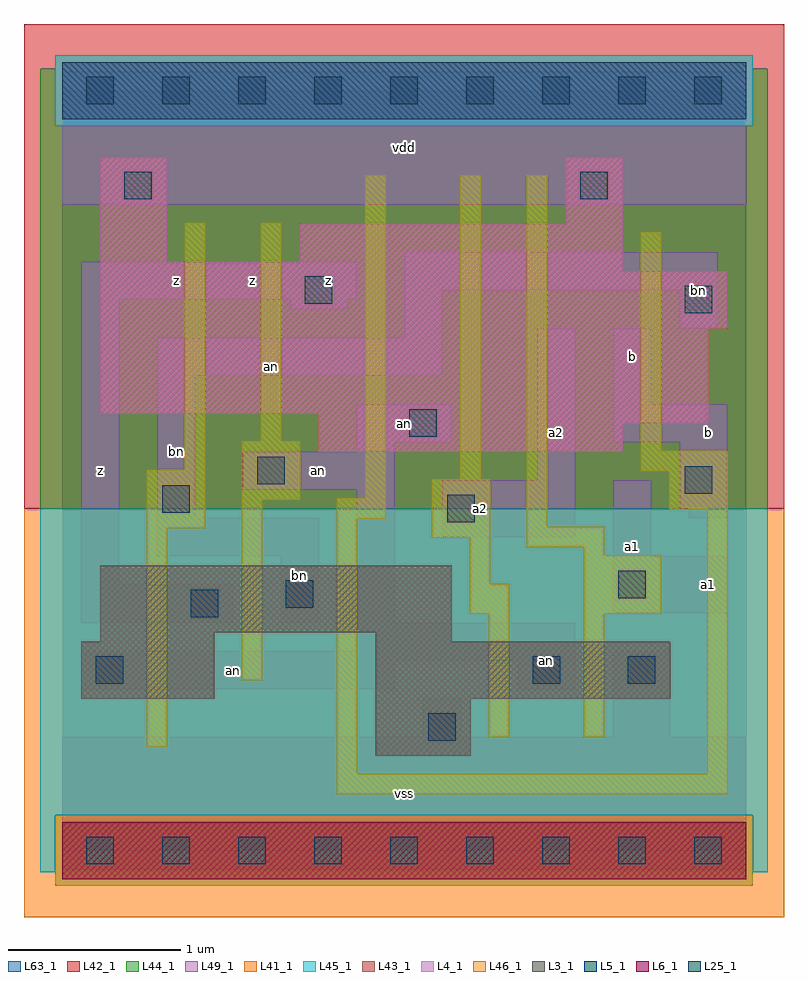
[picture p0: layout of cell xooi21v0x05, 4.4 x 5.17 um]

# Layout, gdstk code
import gdstk
lib = gdstk.Library(unit=1e-6, precision=1e-09)
def R(c, l, rs):  # rectangles x0, y0, x1, y1
    for r in rs: c.add(gdstk.rectangle(r[:2], r[2:], *l))
def A(c, l, x, y, w, h, nx, ny, dx, dy):  # array of equal rectangles
    R(c, l, [(x+i*dx, y+j*dy, x+i*dx+w, y+j*dy+h) for i in range(nx) for j in range(ny)])
L3_1 = (3, 1)
L4_1 = (4, 1)
L5_1 = (5, 1)
L6_1 = (6, 1)
L25_1 = (25, 1)
L41_1 = (41, 1)
L42_1 = (42, 1)
L43_1 = (43, 1)
L44_1 = (44, 1)
L45_1 = (45, 1)
L46_1 = (46, 1)
L49_1 = (49, 1)
L63_1 = (63, 1)

xooi21v0x05 = lib.new_cell('xooi21v0x05')
R(xooi21v0x05, L3_1, [(1.815,0.55,2.365,0.88), (0.11,0.88,0.88,1.21), (1.815,0.88,3.52,1.21), (0.22,1.21,0.88,1.265), (1.815,1.21,2.255,1.265), (0.22,1.265,2.255,1.65)])
R(xooi21v0x05, L4_1, [(1.485,2.31,3.245,2.475), (1.485,2.475,3.74,2.53), (0.22,2.53,3.74,3.025), (0.22,3.025,3.85,3.355), (0.22,3.355,3.245,3.41), (0.22,3.41,0.605,4.015), (1.375,3.41,3.245,3.63), (2.915,3.63,3.245,4.015)])
R(xooi21v0x05, L5_1, [(0,4.235,3.96,4.565)])
R(xooi21v0x05, L6_1, [(0,-0.165,3.96,0.165)])
A(xooi21v0x05, L25_1, 0.14, -0.08, 0.16, 0.16, 9, 2, 0.44, 4.4)
R(xooi21v0x05, L25_1, [(2.12,0.635,2.28,0.795), (0.195,0.965,0.355,1.125), (2.725,0.965,2.885,1.125), (3.275,0.965,3.435,1.125), (0.745,1.35,0.905,1.51), (1.295,1.405,1.455,1.565), (3.22,1.46,3.38,1.62), (2.23,1.9,2.39,2.06), (0.58,1.955,0.74,2.115), (3.605,2.065,3.765,2.225), (1.13,2.12,1.29,2.28), (2.01,2.395,2.17,2.555), (3.605,3.11,3.765,3.27), (1.405,3.165,1.565,3.325), (0.36,3.77,0.52,3.93), (3,3.77,3.16,3.93)])
R(xooi21v0x05, L41_1, [(-0.22,-0.385,4.18,1.98)])
R(xooi21v0x05, L42_1, [(-0.22,1.98,4.18,4.785)])
R(xooi21v0x05, L43_1, [(0,-0.165,3.96,0.165), (1.815,0.55,2.365,0.88), (0.11,0.88,0.88,1.21), (1.815,0.88,3.52,1.21), (0.22,1.21,0.88,1.265), (1.815,1.21,2.255,1.265), (0.22,1.265,2.255,1.65), (1.485,2.31,3.245,2.475), (1.485,2.475,3.74,2.53), (0.22,2.53,3.74,3.025), (0.22,3.025,3.85,3.355), (0.22,3.355,3.245,3.41), (0.22,3.41,0.605,4.015), (1.375,3.41,3.245,3.63), (2.915,3.63,3.245,4.015), (0,4.235,3.96,4.565)])
R(xooi21v0x05, L44_1, [(-0.04,-0.205,4,0.205), (-0.125,1.98,4.085,4.195), (-0.125,4.195,-0.04,4.525), (4,4.195,4.085,4.525)])
R(xooi21v0x05, L45_1, [(-0.125,-0.125,-0.04,0.205), (4,-0.125,4.085,0.205), (-0.125,0.205,4.085,1.98), (-0.04,4.195,4,4.605)])
R(xooi21v0x05, L46_1, [(1.59,0.325,3.855,0.445), (1.59,0.445,1.71,1.92), (3.735,0.445,3.855,1.975), (0.49,0.6,0.61,1.865), (2.47,0.655,2.59,1.37), (3.02,0.655,3.14,1.37), (1.04,0.985,1.16,2.03), (2.36,1.37,2.59,1.545), (3.02,1.37,3.47,1.71), (2.36,1.545,2.48,1.81), (3.02,1.71,3.14,1.755), (2.69,1.755,3.14,1.875), (2.14,1.81,2.48,2.15), (0.49,1.865,0.83,2.205), (2.69,1.875,2.81,3.91), (1.59,1.92,1.875,2.04), (3.515,1.975,3.855,2.195), (1.04,2.03,1.38,2.37), (1.755,2.04,1.875,3.91), (2.305,2.15,2.425,3.91), (3.35,2.195,3.855,2.315), (0.71,2.205,0.83,3.635), (3.35,2.315,3.47,3.58), (1.15,2.37,1.27,3.635)])
R(xooi21v0x05, L49_1, [(0,-0.11,3.96,0.66), (2.09,0.66,2.31,0.88), (3.19,0.66,3.52,1.155), (0.11,0.935,1.925,1.1), (2.64,0.935,2.97,1.1), (0.11,1.1,2.97,1.155), (1.705,1.155,2.97,1.32), (0.11,1.32,0.99,1.54), (1.265,1.32,1.485,1.705), (1.705,1.32,1.925,2.09), (3.19,1.375,3.85,1.705), (0.11,1.54,0.33,3.19), (0.55,1.705,1.485,1.925), (3.19,1.705,3.41,2.145), (2.2,1.815,2.97,2.145), (0.55,1.925,0.77,2.75), (3.63,1.925,3.85,1.98), (3.575,1.98,3.85,2.365), (1.045,2.09,1.925,2.31), (2.75,2.145,2.97,3.025), (1.705,2.31,1.925,2.365), (1.705,2.365,2.255,2.585), (3.19,2.365,3.85,2.585), (3.19,2.585,3.41,3.025), (0.55,2.75,2.2,2.97), (1.98,2.97,2.2,3.245), (3.575,3.025,3.795,3.245), (1.32,3.135,1.65,3.19), (0.11,3.19,1.705,3.41), (1.98,3.245,3.795,3.465), (0,3.74,3.96,4.51)])
R(xooi21v0x05, L63_1, [(0,0,3.96,4.4)])
xooi21v0x05.add(gdstk.Label('an', (1.21,2.805), layer=46, texttype=1))
xooi21v0x05.add(gdstk.Label('z', (0.22,2.2), layer=49, texttype=1))
xooi21v0x05.add(gdstk.Label('bn', (1.375,1.595), layer=49, texttype=1))
xooi21v0x05.add(gdstk.Label('bn', (0.66,2.31), layer=49, texttype=1))
xooi21v0x05.add(gdstk.Label('z', (0.66,3.3), layer=49, texttype=1))
xooi21v0x05.add(gdstk.Label('z', (1.1,3.3), layer=49, texttype=1))
xooi21v0x05.add(gdstk.Label('vss', (1.98,0.33), layer=49, texttype=1))
xooi21v0x05.add(gdstk.Label('an', (0.99,1.045), layer=49, texttype=1))
xooi21v0x05.add(gdstk.Label('an', (1.485,2.2), layer=49, texttype=1))
xooi21v0x05.add(gdstk.Label('an', (1.98,2.475), layer=49, texttype=1))
xooi21v0x05.add(gdstk.Label('z', (1.54,3.3), layer=49, texttype=1))
xooi21v0x05.add(gdstk.Label('vdd', (1.98,4.07), layer=49, texttype=1))
xooi21v0x05.add(gdstk.Label('an', (2.805,1.1), layer=49, texttype=1))
xooi21v0x05.add(gdstk.Label('a2', (2.42,1.98), layer=49, texttype=1))
xooi21v0x05.add(gdstk.Label('a2', (2.86,2.42), layer=49, texttype=1))
xooi21v0x05.add(gdstk.Label('a1', (3.74,1.54), layer=49, texttype=1))
xooi21v0x05.add(gdstk.Label('a1', (3.3,1.76), layer=49, texttype=1))
xooi21v0x05.add(gdstk.Label('b', (3.74,2.42), layer=49, texttype=1))
xooi21v0x05.add(gdstk.Label('b', (3.3,2.86), layer=49, texttype=1))
xooi21v0x05.add(gdstk.Label('bn', (3.685,3.245), layer=49, texttype=1))

lib.write_gds('xooi21v0x05.gds')
